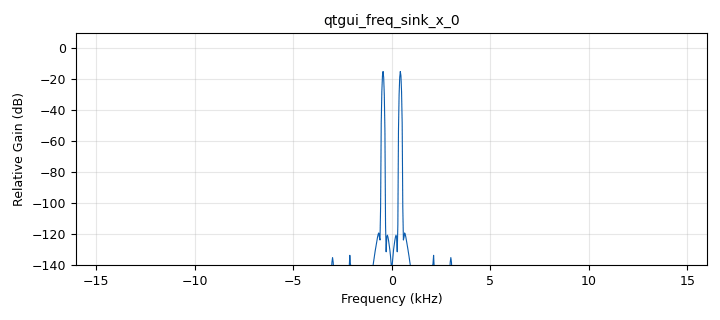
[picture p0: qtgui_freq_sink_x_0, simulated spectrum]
options:
  parameters:
    author: OWATT
    generate_options: qt_gui
    id: default
    output_language: python
    title: Music Tone Generator
  states: {}

blocks:
- name: note_freq
  id: variable_qtgui_range
  parameters:
    label: Don't change this
    min_len: '8'
    start: '0'
    step: note_freq * 2
    stop: 8e3
    value: note_freq_base * (2 ** octave)
    widget: slider
  states: {state: disabled}
- name: note_freq
  id: variable
  parameters:
    value: note_freq_base * (2 ** octave)
  states: {}
- name: note_freq_base
  id: variable_qtgui_chooser
  parameters:
    label: Base Note
    labels: '["C", "C#/Db", "D", "D#/Eb", "E", "F", "F#/Gb", "G", "G#/Ab", "A", "A#/Bb", "B"]'
    num_opts: '0'
    options: '[16.35, 17.32, 18.35, 19.45, 20.60, 21.83, 23.12, 24.5, 25.96, 27.5, 29.14, 30.87]'
    orient: Qt.QHBoxLayout
    type: real
    value: '27.5'
    widget: radio_buttons
  states: {}
- name: octave
  id: variable_qtgui_chooser
  parameters:
    label: Octave
    labels: '[]'
    num_opts: '0'
    options: '[0, 1, 2, 3, 4, 5, 6, 7, 8]'
    orient: Qt.QHBoxLayout
    type: real
    value: '4'
    widget: radio_buttons
  states: {}
- name: samp_rate
  id: variable
  parameters:
    value: '32000'
  states: {}
- name: analog_sig_source_x_0
  id: analog_sig_source_x
  parameters:
    amp: '1'
    freq: note_freq
    offset: '0'
    phase: '0'
    samp_rate: samp_rate
    type: float
    waveform: analog.GR_SIN_WAVE
  states: {}
- name: audio_sink_0
  id: audio_sink
  parameters:
    samp_rate: samp_rate
  states: {}
- name: qtgui_freq_sink_x_0
  id: qtgui_freq_sink_x
  parameters:
    bw: samp_rate
    fc: '0'
    fftsize: '1024'
    type: float
  states: {}

connections:
- [analog_sig_source_x_0, '0', audio_sink_0, '0']
- [analog_sig_source_x_0, '0', qtgui_freq_sink_x_0, '0']

metadata:
  file_format: 1
  grc_version: 3.10.9.2
